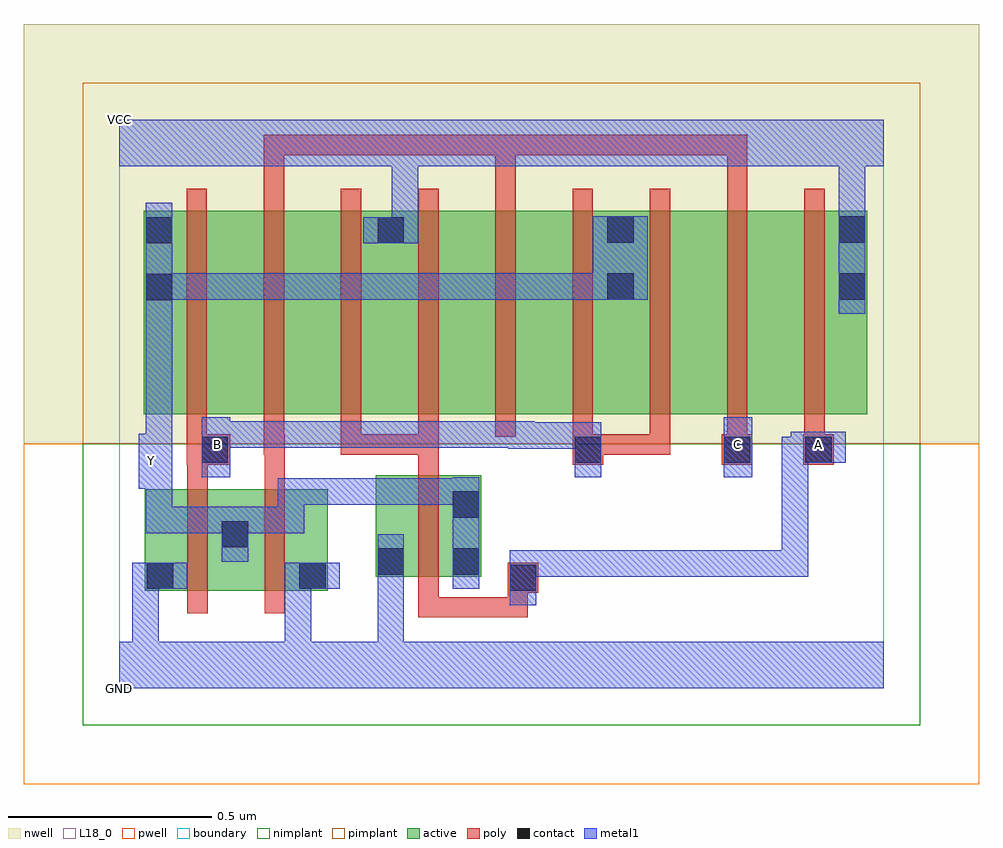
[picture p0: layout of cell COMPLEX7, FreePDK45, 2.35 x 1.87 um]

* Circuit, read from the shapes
.subckt COMPLEX7 A B C GND VCC Y
M1 Y B GND VSUBS nfet w=0.25u l=0.05u
M2 GND C Y VSUBS nfet w=0.25u l=0.05u
M3 Y A GND VSUBS nfet w=0.25u l=0.05u
M4 n1 B Y n2 pfet w=0.5u l=0.05u
M5 n3 C n1 n2 pfet w=0.5u l=0.05u
M6 VCC A n3 n2 pfet w=0.5u l=0.05u
M7 n4 A VCC n2 pfet w=0.5u l=0.05u
M8 n5 C n4 n2 pfet w=0.5u l=0.05u
M9 Y B n5 n2 pfet w=0.5u l=0.05u
M10 n6 B Y n2 pfet w=0.5u l=0.05u
M11 n7 C n6 n2 pfet w=0.5u l=0.05u
M12 VCC A n7 n2 pfet w=0.5u l=0.05u
.ends

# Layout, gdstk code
import gdstk
lib = gdstk.Library(unit=1e-6, precision=1e-09)
def R(c, l, rs):  # rectangles x0, y0, x1, y1
    for r in rs: c.add(gdstk.rectangle(r[:2], r[2:], *l))
def A(c, l, x, y, w, h, nx, ny, dx, dy):  # array of equal rectangles
    R(c, l, [(x+i*dx, y+j*dy, x+i*dx+w, y+j*dy+h) for i in range(nx) for j in range(ny)])
active = (1, 0)
pwell = (2, 0)
nwell = (3, 0)
nimplant = (4, 0)
pimplant = (5, 0)
poly = (9, 0)
contact = (10, 0)
metal1 = (11, 0)
L18_0 = (18, 0)
boundary = (235, 0)

complex7 = lib.new_cell('COMPLEX7')
A(complex7, active, 0.285, 0.675, 0.19, 0.5, 3, 1, 0.57, 0)
R(complex7, active, [(0.062,0.24,0.137,0.49), (0.062,0.24,0.322,0.49), (0.247,0.24,0.512,0.49), (0.247,0.24,0.322,0.417), (0.437,0.24,0.512,0.49), (0.63,0.275,0.705,0.525), (0.63,0.275,0.89,0.525), (0.815,0.275,0.89,0.525), (0.06,0.675,0.285,1.175), (0.06,0.675,0.135,1.165), (0.475,0.675,0.705,1.175), (0.63,0.675,0.705,1.175), (0.63,0.675,0.855,1.175), (1.045,0.675,1.27,1.175), (1.195,0.675,1.425,1.175), (1.195,0.675,1.27,1.167), (1.615,0.675,1.84,1.175), (1.765,0.675,1.84,1.175)])
R(complex7, pwell, [(-0.235,-0.235,2.115,0.602)])
R(complex7, nwell, [(-0.235,0.602,2.115,1.635)])
R(complex7, nimplant, [(-0.09,-0.09,1.97,0.602)])
R(complex7, pimplant, [(-0.09,0.602,1.97,1.49)])
A(complex7, poly, 0.165, 0.575, 0.05, 0.095, 4, 1, 0.19, 0)
A(complex7, poly, 1.115, 0.575, 0.05, 0.095, 4, 1, 0.19, 0)
A(complex7, poly, 0.165, 0.62, 0.05, 0.61, 9, 1, 0.19, 0)
A(complex7, poly, 0.355, 1.18, 0.05, 0.182, 3, 1, 0.57, 0)
R(complex7, poly, [(0.735,0.175,0.785,0.27), (0.735,0.175,0.785,0.225), (0.735,0.175,0.785,0.225), (0.735,0.175,0.785,0.225), (0.735,0.175,1.005,0.225), (0.955,0.175,1.005,0.225), (0.955,0.175,1.005,0.285), (0.167,0.185,0.217,0.545), (0.357,0.185,0.407,0.545), (0.735,0.22,0.785,0.58), (0.955,0.235,1.03,0.31), (0.167,0.495,0.217,0.6), (0.357,0.495,0.407,0.625), (0.735,0.53,0.785,0.625), (0.165,0.55,0.272,0.625), (1.115,0.55,1.19,0.625), (1.482,0.55,1.557,0.625), (1.682,0.55,1.757,0.625), (0.355,0.575,0.407,0.625), (0.545,0.575,0.595,0.625), (0.545,0.575,0.595,0.625), (0.545,0.575,0.595,0.625), (0.545,0.575,0.785,0.625), (0.735,0.575,0.785,0.625), (1.14,0.575,1.355,0.625), (1.305,0.575,1.355,0.625), (1.305,0.575,1.355,0.625), (1.305,0.575,1.355,0.625), (0.355,1.312,0.405,1.362), (0.355,1.312,0.405,1.362), (0.355,1.312,0.405,1.362), (0.355,1.312,0.652,1.362), (0.602,1.312,0.652,1.362), (0.602,1.312,0.652,1.362), (0.602,1.312,0.652,1.362), (0.602,1.312,0.785,1.362), (0.735,1.312,0.785,1.362), (0.735,1.312,0.785,1.362), (0.735,1.312,0.785,1.362), (0.735,1.312,0.975,1.362), (0.925,1.312,0.975,1.362), (0.925,1.312,0.975,1.362), (0.925,1.312,0.975,1.362), (0.925,1.312,1.222,1.362), (1.172,1.312,1.222,1.362), (1.172,1.312,1.222,1.362), (1.172,1.312,1.222,1.362), (1.172,1.312,1.4,1.362), (1.35,1.312,1.4,1.362), (1.35,1.312,1.545,1.362), (1.495,1.312,1.545,1.362), (1.495,1.312,1.545,1.362), (1.495,1.312,1.545,1.362)])
R(complex7, contact, [(0.96,0.24,1.025,0.305), (0.067,0.245,0.132,0.31), (0.442,0.245,0.507,0.31), (0.635,0.28,0.7,0.345), (0.82,0.28,0.885,0.345), (0.252,0.347,0.317,0.412), (0.82,0.42,0.885,0.485), (0.202,0.555,0.267,0.62), (1.12,0.555,1.185,0.62), (1.487,0.555,1.552,0.62), (1.687,0.555,1.752,0.62), (0.065,0.955,0.13,1.02), (1.2,0.957,1.265,1.022), (1.77,0.957,1.835,1.022), (0.065,1.095,0.13,1.16), (0.635,1.095,0.7,1.16), (1.2,1.097,1.265,1.162), (1.77,1.097,1.835,1.162)])
R(complex7, metal1, [(0,0,1.88,0.115), (0.032,0.05,0.097,0.115), (0.032,0.05,0.097,0.115), (0.032,0.05,0.097,0.115), (0.032,0.05,0.097,0.115), (0.032,0.05,0.097,0.31), (0.407,0.05,0.472,0.31), (0.635,0.05,0.7,0.115), (0.635,0.05,0.7,0.115), (0.635,0.05,0.7,0.115), (0.635,0.05,0.7,0.115), (0.635,0.05,0.7,0.31), (0.96,0.205,1.025,0.34), (0.032,0.245,0.167,0.31), (0.407,0.245,0.472,0.31), (0.407,0.245,0.472,0.31), (0.407,0.245,0.472,0.31), (0.407,0.245,0.472,0.31), (0.407,0.245,0.542,0.31), (0.635,0.245,0.7,0.38), (0.82,0.245,0.885,0.52), (0.96,0.275,1.025,0.34), (0.96,0.275,1.025,0.34), (0.96,0.275,1.025,0.34), (0.96,0.275,1.025,0.34), (0.96,0.275,1.23,0.34), (1.165,0.275,1.23,0.34), (1.165,0.275,1.23,0.34), (1.165,0.275,1.23,0.34), (1.165,0.275,1.367,0.34), (1.302,0.275,1.367,0.34), (1.302,0.275,1.505,0.34), (1.44,0.275,1.505,0.34), (1.44,0.275,1.505,0.34), (1.44,0.275,1.505,0.34), (1.44,0.275,1.695,0.34), (1.63,0.275,1.695,0.34), (1.63,0.275,1.695,0.62), (0.252,0.312,0.317,0.447), (0.065,0.382,0.13,0.447), (0.065,0.382,0.13,0.447), (0.065,0.382,0.13,0.447), (0.065,0.382,0.317,0.447), (0.065,0.382,0.13,0.557), (0.252,0.382,0.455,0.447), (0.39,0.382,0.455,0.447), (0.39,0.382,0.455,0.447), (0.39,0.382,0.455,0.517), (0.39,0.452,0.747,0.517), (0.682,0.452,0.747,0.517), (0.682,0.452,0.747,0.517), (0.682,0.452,0.747,0.517), (0.682,0.452,0.885,0.517), (0.82,0.452,0.885,0.517), (0.82,0.452,0.885,0.517), (0.047,0.492,0.13,0.627), (0.202,0.52,0.272,0.667), (1.12,0.52,1.185,0.655), (1.487,0.52,1.557,0.667), (1.63,0.555,1.695,0.62), (1.63,0.555,1.717,0.62), (1.652,0.555,1.787,0.632), (0.065,0.562,0.13,0.985), (0.957,0.59,1.185,0.655), (0.957,0.59,1.022,0.657), (0.207,0.592,0.272,0.657), (0.207,0.592,0.272,0.657), (0.207,0.592,0.455,0.657), (0.39,0.592,0.455,0.657), (0.39,0.592,0.455,0.657), (0.39,0.592,0.455,0.657), (0.39,0.592,0.665,0.657), (0.6,0.592,0.665,0.657), (0.6,0.592,0.665,0.657), (0.6,0.592,0.665,0.657), (0.6,0.592,0.885,0.657), (0.82,0.592,0.885,0.657), (0.82,0.592,0.885,0.657), (0.82,0.592,0.885,0.657), (0.82,0.592,1.022,0.657), (0.957,0.592,1.022,0.657), (0.957,0.592,1.022,0.657), (0.065,0.92,0.13,1.195), (1.77,0.922,1.835,1.197), (0.065,0.957,0.13,1.022), (0.065,0.957,0.13,1.022), (0.065,0.957,0.317,1.022), (0.252,0.957,0.317,1.022), (0.252,0.957,0.527,1.022), (0.462,0.957,0.527,1.022), (0.462,0.957,0.527,1.022), (0.462,0.957,0.527,1.022), (0.462,0.957,0.665,1.022), (0.6,0.957,0.665,1.022), (0.6,0.957,0.665,1.022), (0.6,0.957,0.665,1.022), (0.6,0.957,0.885,1.022), (0.82,0.957,0.885,1.022), (0.82,0.957,0.885,1.022), (0.82,0.957,0.885,1.022), (0.82,0.957,1.022,1.022), (0.957,0.957,1.022,1.022), (0.957,0.957,1.022,1.022), (0.957,0.957,1.022,1.022), (0.957,0.957,1.23,1.022), (1.165,0.957,1.23,1.022), (1.165,0.957,1.23,1.022), (1.165,0.957,1.3,1.162), (0.6,1.095,0.735,1.16), (0.67,1.095,0.735,1.16), (0.67,1.095,0.735,1.16), (0.67,1.095,0.735,1.35), (1.77,1.132,1.835,1.35), (0,1.285,1.88,1.4), (1.77,1.285,1.835,1.35), (1.77,1.285,1.835,1.35)])
R(complex7, L18_0, [(0,0,1.88,0.115), (0.032,0.05,0.097,0.115), (0.032,0.05,0.097,0.115), (0.032,0.05,0.097,0.115), (0.032,0.05,0.097,0.115), (0.032,0.05,0.097,0.31), (0.407,0.05,0.472,0.31), (0.635,0.05,0.7,0.115), (0.635,0.05,0.7,0.115), (0.635,0.05,0.7,0.115), (0.635,0.05,0.7,0.115), (0.635,0.05,0.7,0.31), (0.96,0.205,1.025,0.34), (0.032,0.245,0.167,0.31), (0.407,0.245,0.472,0.31), (0.407,0.245,0.472,0.31), (0.407,0.245,0.472,0.31), (0.407,0.245,0.472,0.31), (0.407,0.245,0.542,0.31), (0.635,0.245,0.7,0.38), (0.82,0.245,0.885,0.52), (0.96,0.275,1.025,0.34), (0.96,0.275,1.025,0.34), (0.96,0.275,1.025,0.34), (0.96,0.275,1.025,0.34), (0.96,0.275,1.23,0.34), (1.165,0.275,1.23,0.34), (1.165,0.275,1.23,0.34), (1.165,0.275,1.23,0.34), (1.165,0.275,1.367,0.34), (1.302,0.275,1.367,0.34), (1.302,0.275,1.505,0.34), (1.44,0.275,1.505,0.34), (1.44,0.275,1.505,0.34), (1.44,0.275,1.505,0.34), (1.44,0.275,1.695,0.34), (1.63,0.275,1.695,0.34), (1.63,0.275,1.695,0.62), (0.252,0.312,0.317,0.447), (0.065,0.382,0.13,0.447), (0.065,0.382,0.13,0.447), (0.065,0.382,0.13,0.447), (0.065,0.382,0.13,0.557), (0.065,0.382,0.317,0.447), (0.252,0.382,0.455,0.447), (0.39,0.382,0.455,0.447), (0.39,0.382,0.455,0.447), (0.39,0.382,0.455,0.517), (0.39,0.452,0.747,0.517), (0.682,0.452,0.747,0.517), (0.682,0.452,0.747,0.517), (0.682,0.452,0.747,0.517), (0.682,0.452,0.885,0.517), (0.82,0.452,0.885,0.517), (0.82,0.452,0.885,0.517), (0.047,0.492,0.13,0.627), (0.202,0.52,0.272,0.667), (1.12,0.52,1.185,0.655), (1.487,0.52,1.557,0.667), (0.047,0.527,0.112,0.592), (1.63,0.555,1.695,0.62), (1.63,0.555,1.717,0.62), (1.652,0.555,1.787,0.632), (0.065,0.562,0.13,0.985), (0.207,0.567,0.272,0.632), (1.487,0.567,1.552,0.632), (1.687,0.567,1.752,0.632), (0.957,0.59,1.022,0.657), (0.957,0.59,1.185,0.655), (0.207,0.592,0.272,0.657), (0.207,0.592,0.272,0.657), (0.207,0.592,0.455,0.657), (0.39,0.592,0.455,0.657), (0.39,0.592,0.455,0.657), (0.39,0.592,0.455,0.657), (0.39,0.592,0.665,0.657), (0.6,0.592,0.665,0.657), (0.6,0.592,0.665,0.657), (0.6,0.592,0.665,0.657), (0.6,0.592,0.885,0.657), (0.82,0.592,0.885,0.657), (0.82,0.592,0.885,0.657), (0.82,0.592,0.885,0.657), (0.82,0.592,1.022,0.657), (0.957,0.592,1.022,0.657), (0.957,0.592,1.022,0.657), (0.065,0.92,0.13,1.195), (1.77,0.922,1.835,1.197), (0.065,0.957,0.13,1.022), (0.065,0.957,0.13,1.022), (0.065,0.957,0.317,1.022), (0.252,0.957,0.317,1.022), (0.252,0.957,0.527,1.022), (0.462,0.957,0.527,1.022), (0.462,0.957,0.527,1.022), (0.462,0.957,0.527,1.022), (0.462,0.957,0.665,1.022), (0.6,0.957,0.665,1.022), (0.6,0.957,0.665,1.022), (0.6,0.957,0.665,1.022), (0.6,0.957,0.885,1.022), (0.82,0.957,0.885,1.022), (0.82,0.957,0.885,1.022), (0.82,0.957,0.885,1.022), (0.82,0.957,1.022,1.022), (0.957,0.957,1.022,1.022), (0.957,0.957,1.022,1.022), (0.957,0.957,1.022,1.022), (0.957,0.957,1.23,1.022), (1.165,0.957,1.23,1.022), (1.165,0.957,1.23,1.022), (1.165,0.957,1.3,1.162), (0.6,1.095,0.735,1.16), (0.67,1.095,0.735,1.16), (0.67,1.095,0.735,1.16), (0.67,1.095,0.735,1.35), (1.77,1.132,1.835,1.35), (0,1.285,1.88,1.4), (1.77,1.285,1.835,1.35), (1.77,1.285,1.835,1.35)])
R(complex7, boundary, [(0,0,1.88,1.4)])
complex7.add(gdstk.Label('A', (1.72,0.6), layer=11, texttype=0))
complex7.add(gdstk.Label('B', (0.24,0.6), layer=11, texttype=0))
complex7.add(gdstk.Label('C', (1.52,0.6), layer=11, texttype=0))
complex7.add(gdstk.Label('Y', (0.08,0.56), layer=11, texttype=0))
complex7.add(gdstk.Label('VCC', (0,1.4), layer=11, texttype=0))
complex7.add(gdstk.Label('GND', (0,0), layer=11, texttype=0))

lib.write_gds('COMPLEX7.gds')
